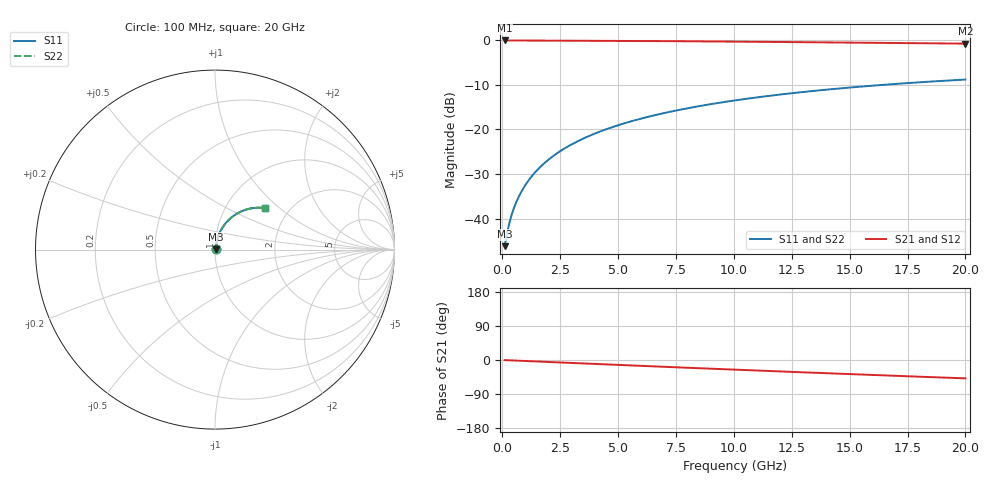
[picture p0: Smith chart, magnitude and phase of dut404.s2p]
! Touchstone file exported from HFSS 2026.1.0
!  File:  C:/ffzhzh/LocalFiles/Ansys_Project_Files/temp_train_BSMRDL_404_1783012399_4048.aedt
!  Generated:  01:14:45 AM Jul  3, 2026
!  Design:  BSMRDL
!  Project:  temp_train_BSMRDL_404_1783012399_4048
! Variables:
!  h_bsmrdl = 3.29um
!  h_ox = 20um
!  h_rdl = 5um
!  h_sub = 80um
!  h_tmrdl = 5um
!  h_tsv = 80um
!  h_via = 3um
!  l_bsmrdl = 768.72um
!  l_sub = 1168.72um
!  l_tmrdl = 200um
!  m_sub = 200um
!  pitch = 38.96um
!  r_tsv = 6um
!  s_tmrdl = 10um
!  w_bsmrdl = 20.89um
!  w_sub = 500um
!  w_tmrdl = 12um
!  x_tsv_center1 = 206um
!  x_tsv_center2 = 995.61um
!  x_tsv_center3 = 1207.61um
!  x_tsv_center4 = 1997.22um
!  x_tsv_center5 = 2209.22um
!  x_tsv_center6 = 2998.83um
# GHz S MA R 50.000000
! Terminal data exported
! Port[1] = BSM_RDL1_1_T1
! Port[2] = BSM_RDL1_1_T2
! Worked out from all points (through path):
!   200 points, 100 MHz to 20 GHz, reference 50 ohm
!   highest |S21| = -0.04 dB at 100 MHz (marker M1); lowest = -0.7 dB at 20 GHz (marker M2)
!   group delay of S21, straight-line fit = 6.73 ps
!   lowest |S11| = -46.2 dB at 100 MHz (marker M3), VSWR 1.01, Z = 50.4 + j0.261 ohm
!   |S11| at or under -10 dB: start of sweep to 16.44 GHz
!   |S22| runs from -46.2 to -8.8 dB; largest |S21 - S12| = 2.7e-15
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0.1  0.004904 31.9  0.9958 -0.3  0.9958 -0.3  0.004904 31.9
! Gamma 0 0 0 0
! Port Impedance 50 0 50 0
0.2  0.006725 49.2  0.9956 -0.6  0.9956 -0.6  0.006725 49.2
0.3  0.008816 57.9  0.9954 -0.8  0.9954 -0.8  0.008816 57.9
0.4  0.01095 63.0  0.9952 -1.1  0.9952 -1.1  0.01095 63.0
0.5  0.01309 66.3  0.995 -1.3  0.995 -1.3  0.01309 66.3
0.6  0.01523 68.8  0.9948 -1.6  0.9948 -1.6  0.01523 68.8
0.8  0.01953 72.1  0.9946 -2.1  0.9946 -2.1  0.01953 72.1
1.1  0.02606 74.9  0.9942 -2.9  0.9942 -2.9  0.02606 74.9
1.3  0.03045 76.0  0.994 -3.4  0.994 -3.4  0.03045 76.0
1.6  0.03708 76.9  0.9937 -4.2  0.9937 -4.2  0.03708 76.9
2.1  0.04817 77.4  0.993 -5.5  0.993 -5.5  0.04817 77.5
2.7  0.06146 77.2  0.992 -7.0  0.992 -7.0  0.06147 77.2
3.5  0.07907 76.1  0.9903 -9.1  0.9903 -9.1  0.07907 76.1
4.2  0.09429 74.8  0.9885 -10.9  0.9885 -10.9  0.0943 74.8
5  0.1114 73.1  0.9862 -13.0  0.9862 -13.0  0.1114 73.2
5.9  0.1304 71.2  0.9833 -15.2  0.9833 -15.2  0.1304 71.2
6.8  0.1489 69.1  0.98 -17.5  0.98 -17.5  0.1489 69.1
8.3  0.1787 65.6  0.9741 -21.2  0.9741 -21.2  0.1787 65.6
10.1  0.2127 61.4  0.9662 -25.6  0.9662 -25.6  0.2127 61.5
13.4  0.2698 53.9  0.9504 -33.5  0.9504 -33.5  0.2698 53.9
16.7  0.32 46.5  0.9339 -41.1  0.9339 -41.1  0.32 46.6
20  0.3629 39.4  0.9176 -48.4  0.9176 -48.4  0.3629 39.4
